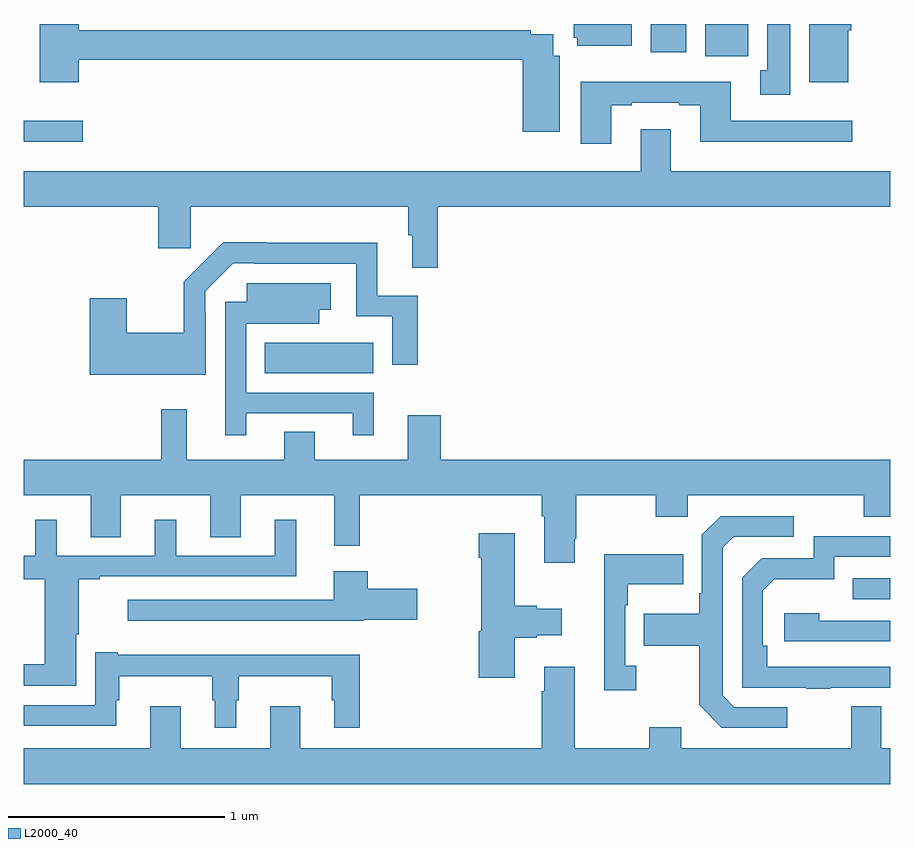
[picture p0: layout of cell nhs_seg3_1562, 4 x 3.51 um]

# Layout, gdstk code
import gdstk
lib = gdstk.Library(unit=1e-6, precision=1e-09)
def R(c, l, rs):  # rectangles x0, y0, x1, y1
    for r in rs: c.add(gdstk.rectangle(r[:2], r[2:], *l))
def P(c, l, *ps):  # polygons
    for p in ps: c.add(gdstk.Polygon(p, *l))
L2000_40 = (2000, 40)

nhs_seg3_1562 = lib.new_cell('nhs_seg3_1562')
R(nhs_seg3_1562, L2000_40, [(194.827,725.745,195,725.841), (192.112,726.788,192.613,726.928), (191,727.856,191.272,727.953), (194.147,728.252,194.344,728.4), (193.895,728.27,194.059,728.4)])
P(nhs_seg3_1562, L2000_40, [(193.807,728.4),(193.538,728.4),(193.538,728.337),(193.556,728.337),(193.556,728.3),(193.807,728.3)],
  [(194.806,728.372),(194.819,728.372),(194.819,728.4),(194.627,728.4),(194.627,728.132),(194.806,728.132)],
  [(193.474,728.254),(193.444,728.254),(193.444,728.352),(193.34,728.352),(193.34,728.372),(191.254,728.372),(191.254,728.4),(191.075,728.4),(191.075,728.132),(191.254,728.132),(191.254,728.236),(193.304,728.236),(193.304,727.902),(193.474,727.902)],
  [(194.539,728.4),(194.432,728.4),(194.432,728.186),(194.399,728.186),(194.399,728.073),(194.539,728.073)],
  [(193.711,728.025),(193.807,728.025),(193.807,728.037),(194.027,728.037),(194.027,728.025),(194.123,728.025),(194.123,727.856),(194.824,727.856),(194.824,727.953),(194.263,727.953),(194.263,728.134),(193.571,728.134),(193.571,727.848),(193.711,727.848)],
  [(192.911,727.556),(195,727.556),(195,727.72),(193.987,727.72),(193.987,727.915),(193.847,727.915),(193.847,727.72),(191,727.72),(191,727.556),(191.621,727.556),(191.621,727.365),(191.771,727.365),(191.771,727.556),(192.775,727.556),(192.775,727.424),(192.794,727.424),(192.794,727.275),(192.911,727.275)],
  [(191.841,727.067),(191.838,727.067),(191.838,727.167),(191.967,727.296),(192.067,727.296),(192.067,727.293),(192.534,727.293),(192.534,727.05),(192.702,727.05),(192.702,726.828),(192.818,726.828),(192.818,727.146),(192.631,727.146),(192.631,727.39),(192.119,727.39),(192.119,727.393),(191.92,727.393),(191.738,727.21),(191.738,726.976),(191.476,726.976),(191.476,727.135),(191.306,727.135),(191.306,726.782),(191.841,726.782)],
  [(192.028,726.603),(192.518,726.603),(192.518,726.501),(192.616,726.501),(192.616,726.699),(192.027,726.699),(192.027,727.016),(192.364,727.016),(192.364,727.082),(192.418,727.082),(192.418,727.204),(192.03,727.204),(192.03,727.119),(191.931,727.119),(191.931,726.501),(192.028,726.501)],
  [(193.543,726.025),(193.551,726.025),(193.551,726.224),(193.918,726.224),(193.918,726.125),(194.064,726.125),(194.064,726.224),(194.878,726.224),(194.878,726.125),(195,726.125),(195,726.388),(192.926,726.388),(192.926,726.595),(192.773,726.595),(192.773,726.388),(192.343,726.388),(192.343,726.518),(192.203,726.518),(192.203,726.388),(191.753,726.388),(191.753,726.622),(191.635,726.622),(191.635,726.388),(191,726.388),(191,726.224),(191.309,726.224),(191.309,726.031),(191.449,726.031),(191.449,726.224),(191.861,726.224),(191.861,726.031),(192.001,726.031),(192.001,726.224),(192.434,726.224),(192.434,725.991),(192.551,725.991),(192.551,726.224),(193.391,726.224),(193.391,726.128),(193.403,726.128),(193.403,725.913),(193.543,725.913)],
  [(194.524,725.247),(194.28,725.247),(194.226,725.301),(194.226,725.982),(194.277,726.033),(194.554,726.033),(194.554,726.129),(194.217,726.129),(194.13,726.042),(194.13,725.773),(194.118,725.773),(194.118,725.677),(193.861,725.677),(193.861,725.53),(194.118,725.53),(194.118,725.257),(194.223,725.151),(194.524,725.151)],
  [(191.242,725.583),(191.254,725.583),(191.254,725.838),(191.35,725.838),(191.35,725.85),(192.257,725.85),(192.257,726.112),(192.158,726.112),(192.158,725.946),(191.704,725.946),(191.704,726.112),(191.606,726.112),(191.606,725.946),(191.152,725.946),(191.152,726.112),(191.054,726.112),(191.054,725.946),(191,725.946),(191,725.838),(191.096,725.838),(191.096,725.444),(191,725.444),(191,725.346),(191.242,725.346)],
  [(193.267,725.567),(193.367,725.567),(193.367,725.579),(193.483,725.579),(193.483,725.701),(193.367,725.701),(193.367,725.714),(193.267,725.714),(193.267,726.049),(193.1,726.049),(193.1,725.936),(193.112,725.936),(193.112,725.597),(193.1,725.597),(193.1,725.382),(193.267,725.382)],
  [(194.723,725.337),(195,725.337),(195,725.433),(194.432,725.433),(194.432,725.53),(194.412,725.53),(194.412,725.784),(194.465,725.837),(194.742,725.837),(194.742,725.94),(195,725.94),(195,726.036),(194.646,726.036),(194.646,725.934),(194.406,725.934),(194.316,725.844),(194.316,725.337),(194.611,725.337),(194.611,725.332),(194.723,725.332)],
  [(193.828,725.438),(193.776,725.438),(193.776,725.717),(193.789,725.717),(193.789,725.813),(194.045,725.813),(194.045,725.953),(193.679,725.953),(193.679,725.325),(193.828,725.325)],
  [(192.57,725.651),(192.817,725.651),(192.817,725.793),(192.587,725.793),(192.587,725.875),(192.431,725.875),(192.431,725.742),(191.481,725.742),(191.481,725.645),(192.57,725.645)],
  [(195,725.646),(194.672,725.646),(194.672,725.68),(194.511,725.68),(194.511,725.55),(195,725.55)],
  [(191.98,725.279),(191.992,725.279),(191.992,725.39),(192.423,725.39),(192.423,725.279),(192.434,725.279),(192.434,725.151),(192.551,725.151),(192.551,725.488),(191.434,725.488),(191.434,725.5),(191.331,725.5),(191.331,725.256),(191,725.256),(191,725.16),(191.428,725.16),(191.428,725.279),(191.44,725.279),(191.44,725.39),(191.871,725.39),(191.871,725.279),(191.882,725.279),(191.882,725.151),(191.98,725.151)],
  [(195,725.056),(194.959,725.056),(194.959,725.251),(194.819,725.251),(194.819,725.056),(194.035,725.056),(194.035,725.155),(193.888,725.155),(193.888,725.056),(193.543,725.056),(193.543,725.434),(193.403,725.434),(193.403,725.321),(193.391,725.321),(193.391,725.056),(192.277,725.056),(192.277,725.251),(192.137,725.251),(192.137,725.056),(191.725,725.056),(191.725,725.251),(191.585,725.251),(191.585,725.056),(191,725.056),(191,724.892),(195,724.892)])

lib.write_gds('nhs_seg3_1562.gds')
